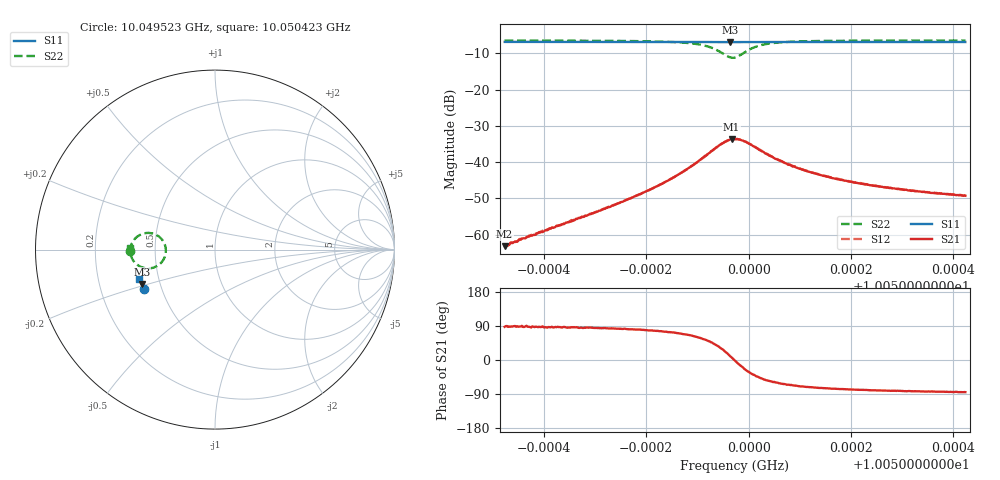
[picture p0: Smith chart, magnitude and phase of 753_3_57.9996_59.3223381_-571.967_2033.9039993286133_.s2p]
#  HZ  S  RI  R  50.00
! Rohde & Schwarz Vector Network Analyzer
! Rohde-Schwarz,ZNB20-2Port,1311601062101988,3.16
! Created: UTC 3/21/2024, 1:24:05 AM
! freq[Hz]  re:S11  im:S11  re:S21  im:S21  re:S12  im:S12  re:S22  im:S22
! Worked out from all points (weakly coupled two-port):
!   401 points, 10.049523 GHz to 10.050423 GHz, reference 50 ohm
!   highest |S21| = -33.62 dB at 10.049967 GHz (marker M1); lowest = -63.2 dB at 10.049523 GHz (marker M2)
!   lowest |S11| = -6.9 dB at 10.049964 GHz (marker M3), VSWR 2.64, Z = 19.7 - j9.5 ohm
!   |S11| at or under -10 dB: nowhere
!   |S22| runs from -11.3 to -6.5 dB; largest |S21 - S12| = 0.0017
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1.00495233e10  -0.3974 -0.2189  2.99e-05 0.000695  -3.54e-05 0.000712  -0.4737 -0.0103
1.00495458e10  -0.3981 -0.2174  3.12e-05 0.000799  -3.13e-05 0.000804  -0.4735 -0.00785
1.00495548e10  -0.3983 -0.217  2.16e-05 0.000852  -3.48e-05 0.000872  -0.4735 -0.00684
1.0049674e10  -0.4019 -0.2097  0.000143 0.00176  1.98e-05 0.00177  -0.4711 0.00938
1.00497506e10  -0.404 -0.2051  0.000372 0.00279  0.000222 0.00279  -0.4673 0.0241
1.00498248e10  -0.4061 -0.2005  0.00115 0.00467  0.000864 0.00473  -0.4569 0.0459
1.00498743e10  -0.4073 -0.1973  0.00284 0.00705  0.0024 0.00717  -0.4371 0.0691
1.00499103e10  -0.408 -0.1947  0.00645 0.00941  0.00576 0.00974  -0.3996 0.0891
1.00499261e10  -0.4082 -0.1936  0.00957 0.0103  0.00888 0.0108  -0.3693 0.0931
1.00499418e10  -0.4082 -0.1928  0.0139 0.00975  0.013 0.0105  -0.3281 0.0825
1.00499643e10  -0.4078 -0.1918  0.0203 0.00335  0.0198 0.00501  -0.2763 0.0173
1.00499666e10  -0.4079 -0.1917  0.0207 0.00251  0.0202 0.0039  -0.2746 0.00767
1.00499733e10  -0.4079 -0.1917  0.0208 -0.000618  0.0208 0.000827  -0.275 -0.022
1.00499846e10  -0.4083 -0.1917  0.0195 -0.00536  0.0198 -0.00394  -0.2938 -0.0658
1.00499981e10  -0.409 -0.1913  0.016 -0.00919  0.0167 -0.00794  -0.3321 -0.0961
1.00500139e10  -0.4098 -0.1906  0.0117 -0.0107  0.0127 -0.00994  -0.3748 -0.1047
1.00500296e10  -0.4106 -0.1897  0.00857 -0.0107  0.00927 -0.01  -0.4056 -0.0991
1.00500814e10  -0.4124 -0.1864  0.0037 -0.00831  0.00423 -0.00814  -0.4509 -0.067
1.00501241e10  -0.4138 -0.1837  0.0022 -0.00678  0.00262 -0.00673  -0.4631 -0.0474
1.00502006e10  -0.4157 -0.179  0.00112 -0.00525  0.00146 -0.0052  -0.4709 -0.0255
1.00502749e10  -0.4176 -0.1743  0.000687 -0.00434  0.000948 -0.00432  -0.4734 -0.0116
1.00504234e10  -0.421 -0.1652  0.00031 -0.00343  0.000526 -0.00343  -0.4749 0.00765
